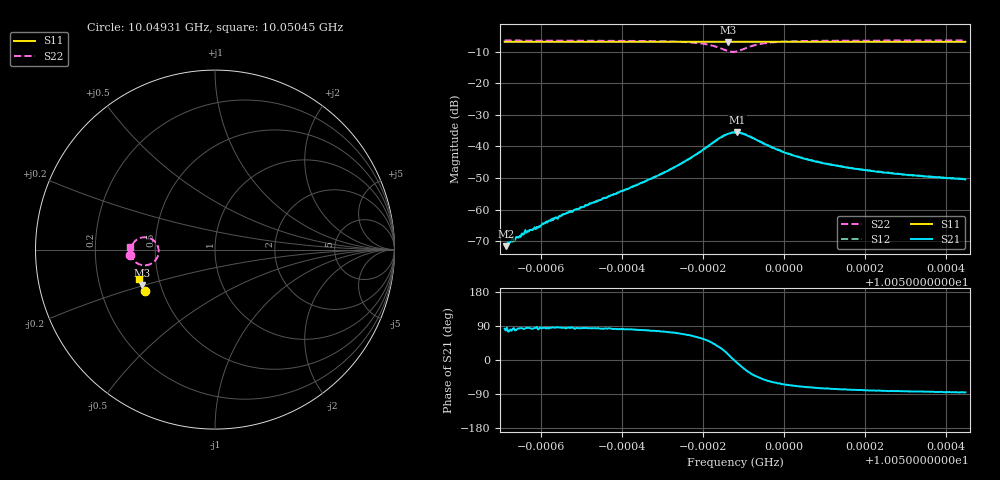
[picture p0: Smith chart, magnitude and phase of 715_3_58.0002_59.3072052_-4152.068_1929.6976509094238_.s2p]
#  HZ  S  RI  R  50.00
! Rohde & Schwarz Vector Network Analyzer
! Rohde-Schwarz,ZNB20-2Port,1311601062101988,3.16
! Created: UTC 3/21/2024, 1:22:21 AM
! freq[Hz]  re:S11  im:S11  re:S21  im:S21  re:S12  im:S12  re:S22  im:S22
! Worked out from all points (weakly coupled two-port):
!   401 points, 10.04931 GHz to 10.05045 GHz, reference 50 ohm
!   highest |S21| = -35.55 dB at 10.04989 GHz (marker M1); lowest = -71.6 dB at 10.04931 GHz (marker M2)
!   lowest |S11| = -6.9 dB at 10.04986 GHz (marker M3), VSWR 2.65, Z = 19.7 - j9.77 ohm
!   |S11| at or under -10 dB: nowhere
!   |S22| runs from -10.1 to -6.5 dB; largest |S21 - S12| = 0.0016
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1.0049311e10  -0.3916 -0.2302  3.56e-05 0.000268  3.18e-05 0.000263  -0.4738 -0.0274
1.0049314e10  -0.3917 -0.2298  5.52e-05 0.000257  1.65e-05 0.000279  -0.4737 -0.0271
1.0049343e10  -0.3926 -0.2283  5.39e-05 0.000366  2.61e-05 0.000362  -0.4738 -0.0245
1.0049368e10  -0.3933 -0.2268  4e-05 0.000451  1.39e-05 0.000447  -0.4737 -0.0218
1.0049394e10  -0.3942 -0.2253  8.58e-05 0.000508  3.11e-05 0.000523  -0.4736 -0.0193
1.0049422e10  -0.3951 -0.2238  5.6e-05 0.000671  1.39e-06 0.000652  -0.4733 -0.0163
1.0049502e10  -0.3976 -0.2188  0.000119 0.00108  3.12e-05 0.00111  -0.4724 -0.00712
1.0049635e10  -0.4016 -0.2109  0.000434 0.00238  0.000303 0.00238  -0.4676 0.0136
1.0049692e10  -0.403 -0.2074  0.000826 0.00341  0.000668 0.00341  -0.4618 0.0267
1.0049743e10  -0.4044 -0.2043  0.0018 0.00487  0.00151 0.00493  -0.4505 0.0427
1.0049797e10  -0.4058 -0.2007  0.00466 0.00715  0.00418 0.00739  -0.4199 0.0636
1.0049834e10  -0.4062 -0.1984  0.00997 0.00778  0.00906 0.00843  -0.3704 0.0659
1.0049863e10  -0.4061 -0.197  0.0152 0.00422  0.0149 0.00533  -0.322 0.026
1.004988e10  -0.4065 -0.1963  0.0166 -0.000768  0.0165 0.000711  -0.3145 -0.0201
1.0049886e10  -0.4068 -0.1962  0.0165 -0.00234  0.0167 -0.00102  -0.3183 -0.0356
1.0049914e10  -0.4077 -0.1952  0.0123 -0.00778  0.013 -0.00677  -0.3654 -0.0829
1.0049954e10  -0.4094 -0.1929  0.00649 -0.00854  0.00725 -0.00831  -0.4224 -0.0815
1.0050005e10  -0.411 -0.1899  0.00331 -0.00713  0.00385 -0.00696  -0.4525 -0.0597
1.005007e10  -0.4129 -0.1858  0.00179 -0.00569  0.00214 -0.00561  -0.4658 -0.0386
1.0050156e10  -0.4152 -0.1806  0.000951 -0.00452  0.00124 -0.00451  -0.4716 -0.0206
1.0050261e10  -0.4177 -0.174  0.000526 -0.00375  0.000768 -0.00373  -0.474 -0.00539
1.0050449e10  -0.4221 -0.1625  0.00025 -0.00299  0.000389 -0.003  -0.475 0.0144
